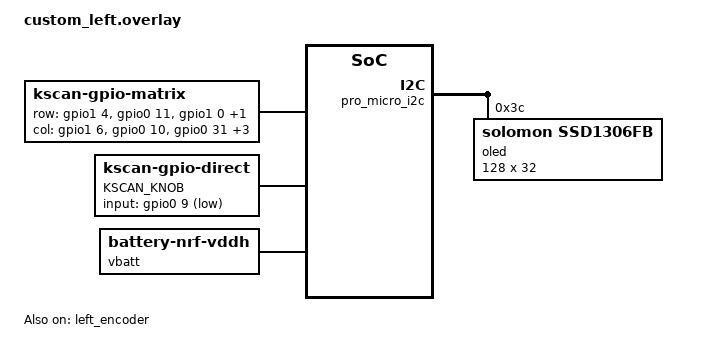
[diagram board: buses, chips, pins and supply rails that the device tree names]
#include <zephyr/dt-bindings/gpio/gpio.h>
#include <zephyr/dt-bindings/pinctrl/nrf-pinctrl.h>
#include "custom.dtsi"

/*
 * Override I2C0 pinctrl: SDA=P0.20, SCL=P0.17
 */
&pinctrl {
    i2c0_default: i2c0_default {
        group1 {
            psels = <NRF_PSEL(TWIM_SDA, 0, 20)>,
                <NRF_PSEL(TWIM_SCL, 0, 17)>;
        };
    };

    i2c0_sleep: i2c0_sleep {
        group1 {
            psels = <NRF_PSEL(TWIM_SDA, 0, 20)>,
                <NRF_PSEL(TWIM_SCL, 0, 17)>;
            low-power-enable;
        };
    };
};

/ {
    chosen {
        zmk,kscan = &kscan_composite;
        zephyr,display = &oled;
    };

    kscan0: kscan_0 {
        compatible = "zmk,kscan-gpio-matrix";
        label = "KSCAN";
        wakeup-source;
        diode-direction = "col2row";

        row-gpios
            = <&gpio1 4  (GPIO_ACTIVE_HIGH | GPIO_PULL_DOWN)>  /* Row 0: 104 */
            , <&gpio0 11 (GPIO_ACTIVE_HIGH | GPIO_PULL_DOWN)>  /* Row 1: 011 */
            , <&gpio1 0  (GPIO_ACTIVE_HIGH | GPIO_PULL_DOWN)>  /* Row 2: 100 */
            , <&gpio0 24 (GPIO_ACTIVE_HIGH | GPIO_PULL_DOWN)>  /* Row 3: 024 */
            ;

        col-gpios
            = <&gpio1 6  GPIO_ACTIVE_HIGH>  /* Col 0: più esterna (ESC, LSFT) -> 106 */
            , <&gpio0 10 GPIO_ACTIVE_HIGH>  /* Col 1: (Q, A, TAB) -> 010 */
            , <&gpio0 31 GPIO_ACTIVE_HIGH>  /* Col 2: (W, S, Z) -> 031 */
            , <&gpio1 11 GPIO_ACTIVE_HIGH>  /* Col 3: (E, D, X) -> 111 */
            , <&gpio0 29 GPIO_ACTIVE_HIGH>  /* Col 4: (R, F, C) -> 029 */
            , <&gpio0 2  GPIO_ACTIVE_HIGH>  /* Col 5: più interna (T, G, V) -> 002 */
            ;
    };

    kscan_knob_click: kscan_direct {
        wakeup-source;
        compatible = "zmk,kscan-gpio-direct";
        label = "KSCAN_KNOB";
        input-gpios = <&gpio0 9 (GPIO_ACTIVE_LOW | GPIO_PULL_UP)>;
    };

    kscan_composite: kscan_composite {
        compatible = "zmk,kscan-composite";
        label = "KSCAN_COMPOSITE";
        rows = <4>;
        columns = <7>;

        matrix {
            kscan = <&kscan0>;
        };

        direct {
            kscan = <&kscan_knob_click>;
            row-offset = <3>;
            col-offset = <6>;
        };
    };


};

/* Enable I2C0 and add SSD1306 OLED 0.91" 128x32 display */
&pro_micro_i2c {
    status = "okay";

    oled: ssd1306@3c {
        compatible = "solomon,ssd1306fb";
        reg = <0x3c>;
        width = <128>;
        height = <32>;
        segment-offset = <0>;
        page-offset = <0>;
        display-offset = <0>;
        multiplex-ratio = <31>;
        segment-remap;
        com-invdir;
        com-sequential;
        inversion-on;
        prechargep = <0x22>;
    };
};

/ {
    chosen {
        zmk,battery = &vbatt;
    };

    vbatt: vbatt {
        compatible = "zmk,battery-nrf-vddh";
    };
};

&left_encoder {
    status = "okay";
};
